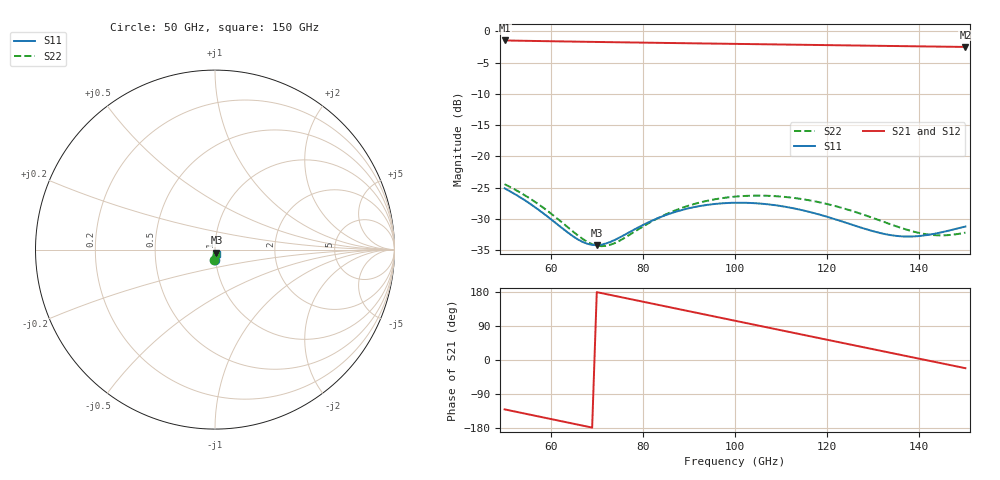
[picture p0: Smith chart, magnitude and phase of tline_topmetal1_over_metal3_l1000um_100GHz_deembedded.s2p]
! Created with skrf 2.2.0 (http://scikit-rf.org).
# GHz S DB R 50.0
! Port[1] = P1
! Port[2] = P2
!freq dBS11 angS11 dBS21 angS21 dBS12 angS12 dBS22 angS22
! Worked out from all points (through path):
!   101 points, 50 GHz to 150 GHz, reference 50 ohm
!   highest |S21| = -1.46 dB at 50 GHz (marker M1); lowest = -2.5 dB at 150 GHz (marker M2)
!   group delay of S21, straight-line fit = 6.98 ps
!   lowest |S11| = -34.2 dB at 70 GHz (marker M3), VSWR 1.04, Z = 50.8 - j1.8 ohm
!   |S11| at or under -10 dB: start of sweep to end of sweep
!   |S22| runs from -34.4 to -24.5 dB; largest |S21 - S12| = 1.4e-13
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50  -25.13 -89.9  -1.46 -130.3  -1.46 -130.3  -24.46 -93.1
55  -27.34 -95.3  -1.52 -143.0  -1.52 -143.0  -26.53 -99.9
59  -29.47 -96.3  -1.57 -153.1  -1.57 -153.1  -28.56 -102.6
63  -31.79 -91.8  -1.62 -163.2  -1.62 -163.2  -30.92 -100.7
67  -33.73 -79.1  -1.66 -173.3  -1.66 -173.3  -33.25 -90.9
70  -34.22 -65.6  -1.70 179.1  -1.70 179.1  -34.30 -77.4
72  -33.96 -57.1  -1.72 174.1  -1.72 174.1  -34.33 -67.4
74  -33.36 -50.4  -1.74 169.0  -1.74 169.0  -33.86 -58.6
79  -31.39 -42.5  -1.79 156.4  -1.79 156.4  -31.70 -46.7
84  -29.68 -43.1  -1.85 143.8  -1.85 143.8  -29.64 -45.8
92  -28.01 -51.5  -1.93 123.7  -1.93 123.7  -27.47 -53.9
100  -27.44 -63.0  -2.01 103.6  -2.01 103.6  -26.46 -66.2
104  -27.49 -68.8  -2.04 93.6  -2.04 93.6  -26.30 -72.7
108  -27.76 -74.4  -2.08 83.5  -2.08 83.5  -26.35 -79.1
112  -28.23 -79.4  -2.12 73.5  -2.12 73.5  -26.59 -85.4
117  -29.06 -84.4  -2.17 60.9  -2.17 60.9  -27.16 -92.4
126  -31.10 -87.2  -2.26 38.4  -2.26 38.4  -28.89 -101.6
134  -32.64 -80.0  -2.34 18.4  -2.34 18.4  -30.95 -102.5
138  -32.85 -73.9  -2.38 8.4  -2.38 8.4  -31.90 -99.1
142  -32.57 -68.3  -2.42 -1.6  -2.42 -1.6  -32.53 -93.2
146  -31.96 -64.7  -2.46 -11.6  -2.46 -11.6  -32.63 -86.3
150  -31.24 -63.4  -2.50 -21.6  -2.50 -21.6  -32.22 -80.4
